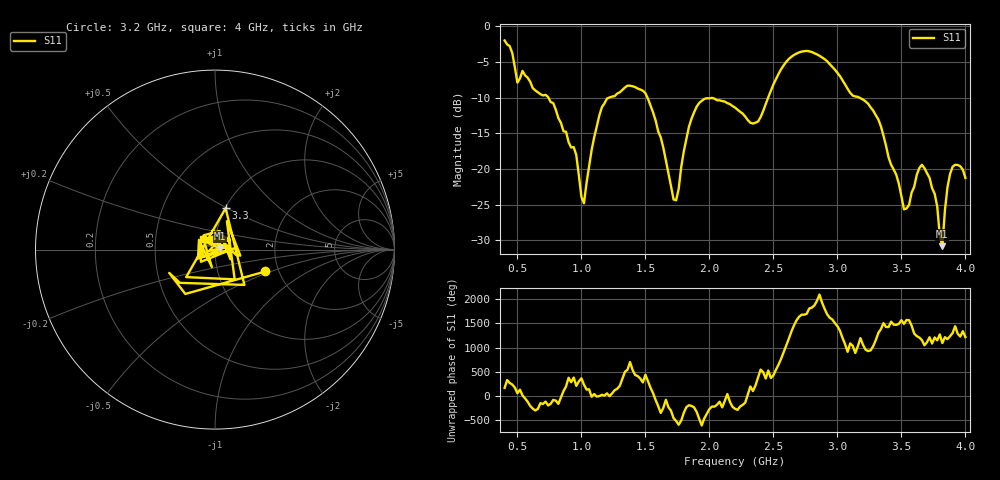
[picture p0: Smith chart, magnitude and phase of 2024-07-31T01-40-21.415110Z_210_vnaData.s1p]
!Created with skrf (http://scikit-rf.org).
# Hz S RI R 50.0
!freq ReS11 ImS11
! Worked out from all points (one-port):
!   181 points, 400 MHz to 4 GHz, reference 50 ohm
!   lowest |S11| = -30.8 dB at 3.82 GHz (marker M1), VSWR 1.06, Z = 52.9 + j0.698 ohm
!   |S11| at or under -10 dB: 742.2 MHz to 1.218 GHz (475.8 MHz wide, 48.5 % of centre); 1.516 GHz to 2.459 GHz (943.3 MHz wide, 47.5 % of centre); 3.171 GHz to end of sweep
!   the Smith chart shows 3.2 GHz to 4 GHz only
!   S11 on the Smith chart (normalised r, x): 3.2 GHz: 1.70, -0.46; 3.3 GHz: 1.01, +0.49; 4 GHz: 0.87, +0.10
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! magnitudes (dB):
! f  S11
! 400 MHz  -2.0
! 500 MHz  -7.9
! 540 MHz  -6.3
! 740 MHz  -9.9
! 860 MHz  -14.7
! 960 MHz  -18.1
! 1.02 GHz  -24.8
! 1.16 GHz  -11.4
! 1.3 GHz  -9.3
! 1.5 GHz  -9.4
! 1.72 GHz  -24.3
! 1.76 GHz  -22.8
! 1.84 GHz  -14.1
! 1.92 GHz  -10.8
! 2.2 GHz  -11.4
! 2.38 GHz  -13.4
! 2.66 GHz  -4.0
! 2.88 GHz  -4.4
! 3.1 GHz  -9.3
! 3.2 GHz  -10.3
! 3.3 GHz  -12.5
! 3.52 GHz  -25.7
! 3.56 GHz  -25.0
! 3.66 GHz  -19.4
! 3.76 GHz  -23.5
! 3.82 GHz  -30.8
! 3.88 GHz  -20.7
! 4 GHz  -21.3
